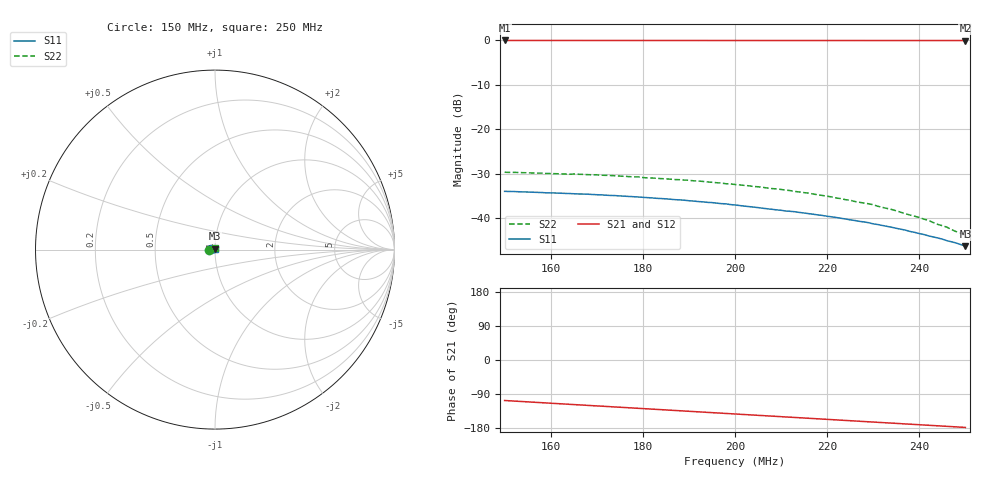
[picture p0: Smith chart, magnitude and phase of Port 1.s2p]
! RsaToolbox (C) 2014 Rohde & Schwarz America
! Number of points: 101
! Number of ports: 2
! Balanced ports?: No
# Hz S RI R 50
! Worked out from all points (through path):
!   101 points, 150 MHz to 250 MHz, reference 50 ohm
!   highest |S21| = -0.09 dB at 150 MHz (marker M1); lowest = -0.1 dB at 250 MHz (marker M2)
!   group delay of S21, straight-line fit = 1.97 ns
!   lowest |S11| = -46.2 dB at 250 MHz (marker M3), VSWR 1.01, Z = 50.2 + j0.457 ohm
!   |S11| at or under -10 dB: start of sweep to end of sweep
!   |S22| runs from -43.6 to -29.6 dB; largest |S21 - S12| = 0
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1.5e8  -0.0201 0.00074  -0.2878 -0.9474  -0.2878 -0.9474  -0.0329 -0.000473
1.59e8  -0.0191 0.00334  -0.3915 -0.9092  -0.3915 -0.9092  -0.0318 0.00313
1.67e8  -0.018 0.00536  -0.4797 -0.8656  -0.4797 -0.8656  -0.0307 0.00565
1.79e8  -0.0154 0.00798  -0.6024 -0.7849  -0.6024 -0.7849  -0.0277 0.00939
1.81e8  -0.015 0.00822  -0.6216 -0.7698  -0.6216 -0.7698  -0.0267 0.00976
1.84e8  -0.0142 0.00875  -0.6497 -0.746  -0.6497 -0.746  -0.0258 0.0107
1.92e8  -0.012 0.00971  -0.7203 -0.6778  -0.7203 -0.6778  -0.023 0.0126
2e8  -0.00969 0.0103  -0.7838 -0.6029  -0.7838 -0.6029  -0.0198 0.0135
2.09e8  -0.00699 0.0103  -0.8461 -0.5113  -0.8461 -0.5113  -0.0161 0.0141
2.17e8  -0.00485 0.01  -0.8925 -0.4253  -0.8925 -0.4253  -0.0123 0.0142
2.21e8  -0.00379 0.00968  -0.9123 -0.3805  -0.9123 -0.3805  -0.0106 0.0138
2.25e8  -0.00279 0.00921  -0.9301 -0.3349  -0.9301 -0.3349  -0.00895 0.0132
2.26e8  -0.00256 0.00912  -0.9341 -0.3233  -0.9341 -0.3233  -0.00837 0.013
2.29e8  -0.00193 0.00873  -0.9454 -0.2884  -0.9454 -0.2884  -0.00719 0.0127
2.34e8  -0.000805 0.00791  -0.9614 -0.2293  -0.9614 -0.2293  -0.0051 0.0115
2.37e8  -0.000193 0.00738  -0.9692 -0.1935  -0.9692 -0.1935  -0.00383 0.0106
2.42e8  0.000652 0.00633  -0.9793 -0.133  -0.9793 -0.133  -0.00221 0.00923
2.44e8  0.00101 0.00595  -0.9823 -0.1087  -0.9823 -0.1087  -0.0015 0.00843
2.46e8  0.00127 0.00547  -0.9847 -0.0843  -0.9847 -0.0843  -0.00101 0.00789
2.47e8  0.00143 0.00527  -0.9856 -0.072  -0.9856 -0.072  -0.000651 0.00745
2.49e8  0.00168 0.0048  -0.9871 -0.0476  -0.9871 -0.0476  -0.000203 0.00678
2.5e8  0.00174 0.00456  -0.9875 -0.0353  -0.9875 -0.0353  6.96e-05 0.00661
